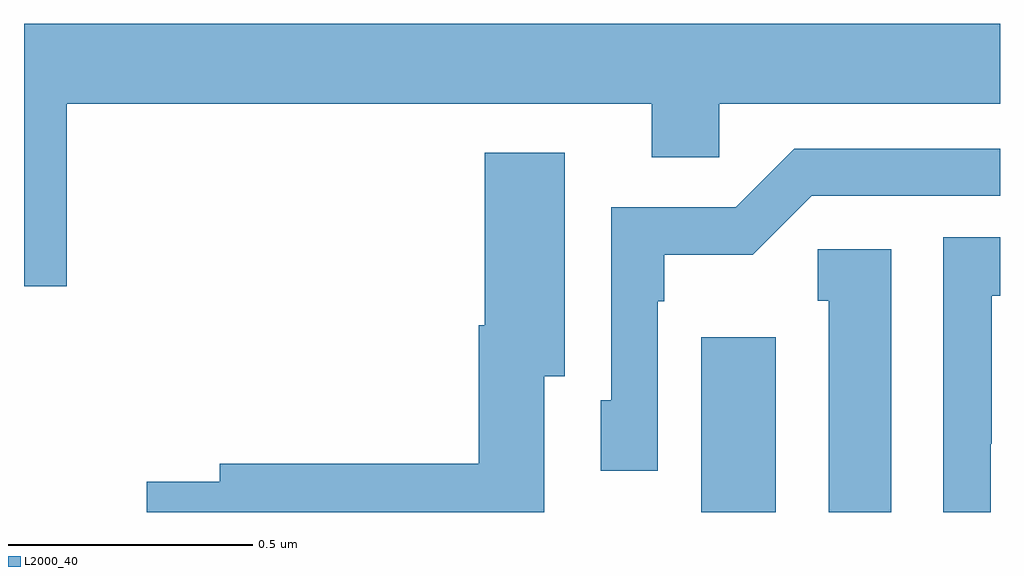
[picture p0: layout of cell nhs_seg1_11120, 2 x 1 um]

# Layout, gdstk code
import gdstk
lib = gdstk.Library(unit=1e-6, precision=1e-09)
def R(c, l, rs):  # rectangles x0, y0, x1, y1
    for r in rs: c.add(gdstk.rectangle(r[:2], r[2:], *l))
def P(c, l, *ps):  # polygons
    for p in ps: c.add(gdstk.Polygon(p, *l))
L2000_40 = (2000, 40)

nhs_seg1_11120 = lib.new_cell('nhs_seg1_11120')
R(nhs_seg1_11120, L2000_40, [(250.388,580.199,250.54,580.558)])
P(nhs_seg1_11120, L2000_40, [(249.088,581.036),(250.286,581.036),(250.286,580.926),(250.425,580.926),(250.425,581.036),(251,581.036),(251,581.2),(249,581.2),(249,580.662),(249.088,580.662)],
  [(250.299,580.631),(250.312,580.631),(250.312,580.727),(250.493,580.727),(250.614,580.848),(251,580.848),(251,580.944),(250.578,580.944),(250.458,580.824),(250.203,580.824),(250.203,580.428),(250.182,580.428),(250.182,580.284),(250.299,580.284)],
  [(250.066,580.478),(250.108,580.478),(250.108,580.936),(249.944,580.936),(249.944,580.582),(249.932,580.582),(249.932,580.298),(249.401,580.298),(249.401,580.262),(249.252,580.262),(249.252,580.199),(250.066,580.199)],
  [(250.981,580.339),(250.983,580.339),(250.983,580.643),(251,580.643),(251,580.763),(250.884,580.763),(250.884,580.199),(250.981,580.199)],
  [(250.777,580.738),(250.627,580.738),(250.627,580.632),(250.649,580.632),(250.649,580.199),(250.777,580.199)])

lib.write_gds('nhs_seg1_11120.gds')
